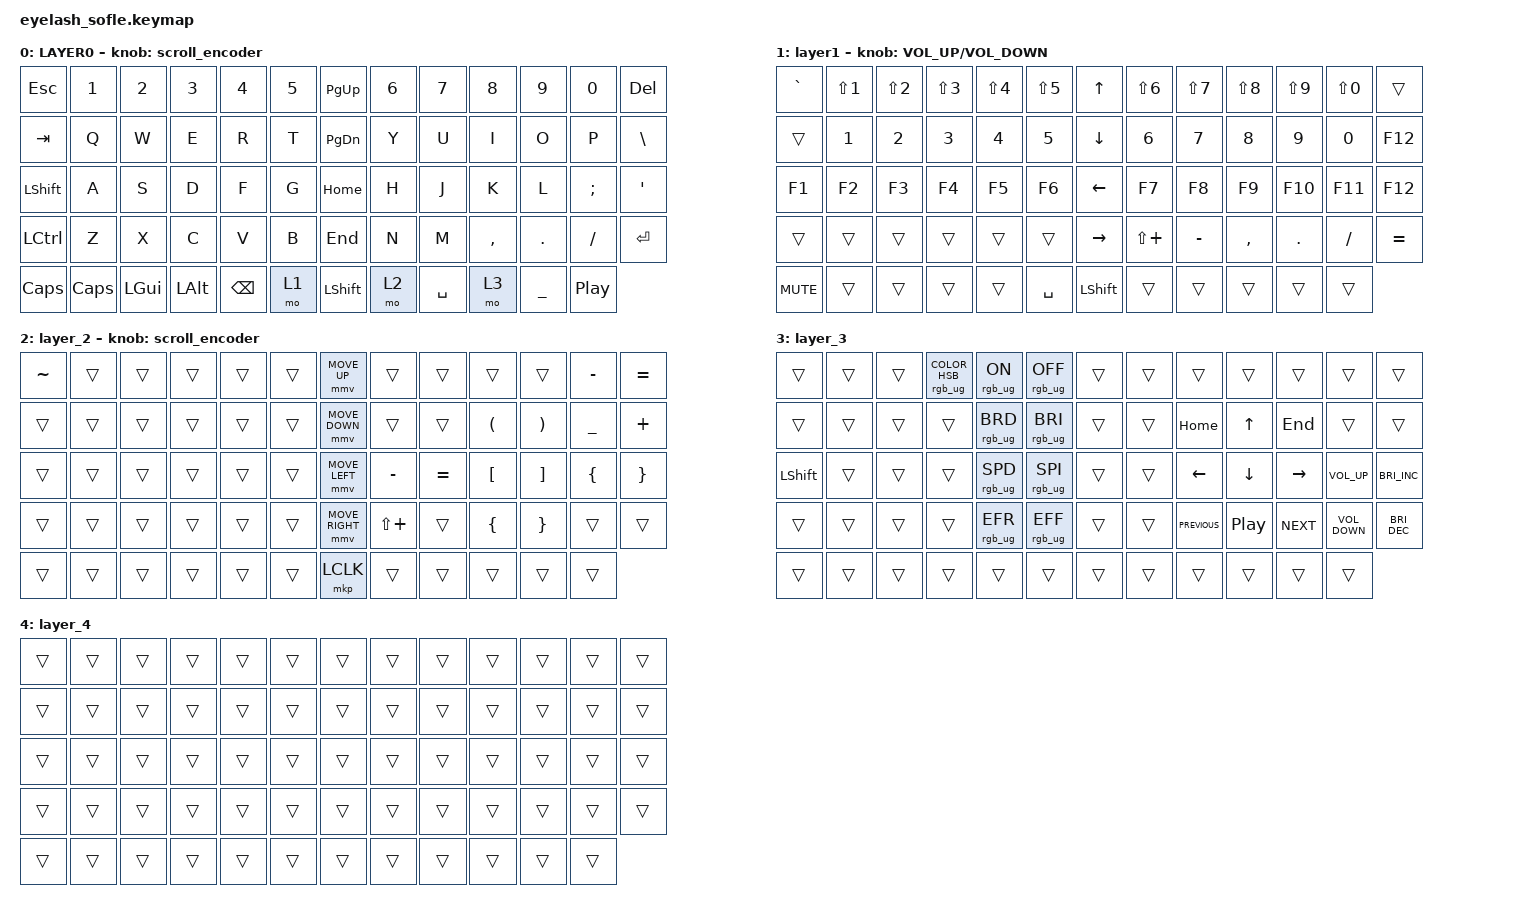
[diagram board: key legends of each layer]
#define ZMK_POINTING_DEFAULT_MOVE_VAL 1200  // 600
#define ZMK_POINTING_DEFAULT_SCRL_VAL 25   // 10

#include <input/processors.dtsi>
#include <zephyr/dt-bindings/input/input-event-codes.h>
#include <behaviors.dtsi>
#include <dt-bindings/zmk/keys.h>
#include <dt-bindings/zmk/pointing.h>
#include <dt-bindings/zmk/rgb.h>

&mmv_input_listener { input-processors = <&zip_xy_scaler 2 1>; };

&msc_input_listener { input-processors = <&zip_scroll_scaler 2 1>; };

&msc {
    acceleration-exponent = <1>;      // 0
    time-to-max-speed-ms = <100>;       // 300
    delay-ms = <0>;                   // 0
};

&mmv {
    time-to-max-speed-ms = <500>;
    acceleration-exponent = <1>;
    trigger-period-ms = <16>;
};

/ {
    scroll_encoder: scroll_encoder {
        compatible = "zmk,behavior-sensor-rotate";
        #sensor-binding-cells = <0>;
        bindings = <&msc SCRL_DOWN>, <&msc SCRL_UP>;

        tap-ms = <100>;
    };

    behaviors {
    };

    keymap {
        compatible = "zmk,keymap";

        layer0 {
            bindings = <
&kp ESC           &kp N1        &kp N2        &kp N3        &kp N4         &kp N5    &kp PAGE_UP     &kp N6  &kp N7     &kp N8     &kp N9     &kp N0            &kp DELETE
&kp TAB           &kp Q         &kp W         &kp E         &kp R          &kp T     &kp PAGE_DOWN   &kp Y   &kp U      &kp I      &kp O      &kp P             &kp BSLH
&kp LEFT_SHIFT    &kp A         &kp S         &kp D         &kp F          &kp G     &kp HOME        &kp H   &kp J      &kp K      &kp L      &kp SEMI          &kp APOS
&kp LEFT_CONTROL  &kp Z         &kp X         &kp C         &kp V          &kp B     &kp END         &kp N   &kp M      &kp COMMA  &kp DOT    &kp FSLH          &kp ENTER
&kp CAPSLOCK      &kp CAPSLOCK  &kp LEFT_GUI  &kp LEFT_ALT  &kp BACKSPACE  &mo 1     &kp LEFT_SHIFT  &mo 2   &kp SPACE  &mo 3      &kp UNDER  &kp C_PLAY_PAUSE
            >;

            sensor-bindings = <&scroll_encoder>;
            display-name = "LAYER0";
        };

        layer_1 {
            bindings = <
&kp GRAVE   &kp LS(NUMBER_1)  &kp LS(NUMBER_2)  &kp LS(NUMBER_3)  &kp LS(NUMBER_4)  &kp LS(N5)    &kp UP_ARROW     &kp LS(NUMBER_6)  &kp LS(N7)  &kp LS(N8)  &kp LS(N9)  &kp LS(N0)  &trans
&trans      &kp NUMBER_1      &kp NUMBER_2      &kp NUMBER_3      &kp NUMBER_4      &kp N5        &kp DOWN_ARROW   &kp NUMBER_6      &kp N7      &kp N8      &kp N9      &kp N0      &kp F12
&kp F1      &kp F2            &kp F3            &kp F4            &kp F5            &kp F6        &kp LEFT_ARROW   &kp F7            &kp F8      &kp F9      &kp F10     &kp F11     &kp F12
&trans      &trans            &trans            &trans            &trans            &trans        &kp RIGHT_ARROW  &kp LS(PLUS)      &kp MINUS   &kp COMMA   &kp DOT     &kp FSLH    &kp EQUAL
&kp C_MUTE  &trans            &trans            &trans            &trans            &kp SPACE     &kp LEFT_SHIFT   &trans            &trans      &trans      &trans      &trans
            >;

            display-name = "layer1";
            sensor-bindings = <&inc_dec_kp C_VOLUME_UP C_VOLUME_DOWN>;
        };

        layer_2 {
            bindings = <
&kp TILDE  &trans  &trans  &trans  &trans  &trans    &mmv MOVE_UP     &trans        &trans     &trans                &trans                 &kp MINUS  &kp EQUAL
&trans     &trans  &trans  &trans  &trans  &trans    &mmv MOVE_DOWN   &trans        &trans     &kp LEFT_PARENTHESIS  &kp RIGHT_PARENTHESIS  &kp UNDER  &kp PLUS
&trans     &trans  &trans  &trans  &trans  &trans    &mmv MOVE_LEFT   &kp MINUS     &kp EQUAL  &kp LBKT              &kp RBKT               &kp LBRC   &kp RBRC
&trans     &trans  &trans  &trans  &trans  &trans    &mmv MOVE_RIGHT  &kp LS(PLUS)  &trans     &kp LEFT_BRACE        &kp RIGHT_BRACE        &trans     &trans
&trans     &trans  &trans  &trans  &trans  &trans    &mkp LCLK        &trans        &trans     &trans                &trans                 &trans
            >;

            sensor-bindings = <&scroll_encoder>;
        };

        layer_3 {
            bindings = <
&trans          &trans  &trans  &rgb_ug RGB_COLOR_HSB(127,88,45)  &rgb_ug RGB_ON   &rgb_ug RGB_OFF    &trans  &trans  &trans          &trans            &trans      &trans             &trans
&trans          &trans  &trans  &trans                            &rgb_ug RGB_BRD  &rgb_ug RGB_BRI    &trans  &trans  &kp HOME        &kp UP            &kp END     &trans             &trans
&kp LEFT_SHIFT  &trans  &trans  &trans                            &rgb_ug RGB_SPD  &rgb_ug RGB_SPI    &trans  &trans  &kp LEFT        &kp DOWN          &kp RIGHT   &kp C_VOLUME_UP    &kp C_BRIGHTNESS_INC
&trans          &trans  &trans  &trans                            &rgb_ug RGB_EFR  &rgb_ug RGB_EFF    &trans  &trans  &kp C_PREVIOUS  &kp C_PLAY_PAUSE  &kp C_NEXT  &kp C_VOLUME_DOWN  &kp C_BRIGHTNESS_DEC
&trans          &trans  &trans  &trans                            &trans           &trans             &trans  &trans  &trans          &trans            &trans      &trans
            >;
        };

        layer_4 {
            bindings = <
&trans  &trans  &trans  &trans  &trans  &trans    &trans  &trans  &trans  &trans  &trans  &trans  &trans
&trans  &trans  &trans  &trans  &trans  &trans    &trans  &trans  &trans  &trans  &trans  &trans  &trans
&trans  &trans  &trans  &trans  &trans  &trans    &trans  &trans  &trans  &trans  &trans  &trans  &trans
&trans  &trans  &trans  &trans  &trans  &trans    &trans  &trans  &trans  &trans  &trans  &trans  &trans
&trans  &trans  &trans  &trans  &trans  &trans    &trans  &trans  &trans  &trans  &trans  &trans
            >;
        };
    };
};
